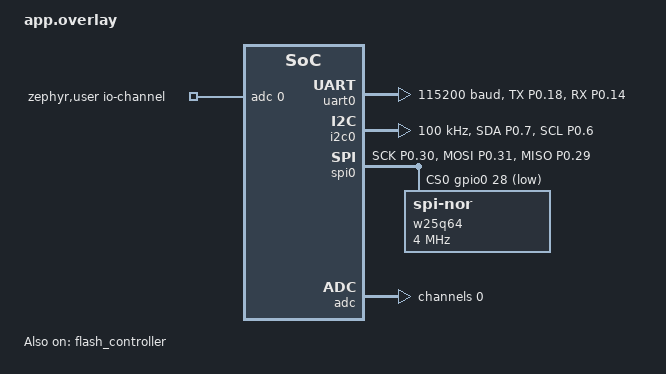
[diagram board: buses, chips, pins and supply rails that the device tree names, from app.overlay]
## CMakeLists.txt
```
# SPDX-License-Identifier: Apache-2.0

cmake_minimum_required(VERSION 3.20.0)

find_package(Zephyr REQUIRED)
project(blinky_3)

# 主源文件
target_sources(app PRIVATE src/main.c)

# 传感器模块
target_sources(app PRIVATE 
    src/sensors/aht30.c
    src/sensors/spl06.c
)

# 存储模块
target_sources(app PRIVATE 
    src/storage/w25q64.c
    src/storage/nvs_config.c
)

# 蓝牙模块
target_sources(app PRIVATE 
    src/ble/ble_adv.c
    src/ble/ble_services.c
    src/ble/ble_ota.c
)

# LED模块
target_sources(app PRIVATE src/led.c)

# 电池电压采样（仅 CONFIG_ADC=y 时产生代码，默认关闭 → 对发布镜像零影响）
target_sources(app PRIVATE src/vdd.c)

# 添加包含目录
target_include_directories(app PRIVATE src)
```

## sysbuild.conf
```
# Formal MCUboot build for nRF52810 + W25Q64.
# The private signing key is intentionally supplied on the west command line.
SB_CONFIG_BOOTLOADER_MCUBOOT=y
SB_CONFIG_MCUBOOT_MODE_OVERWRITE_ONLY=y
SB_CONFIG_PM_EXTERNAL_FLASH_MCUBOOT_SECONDARY=y
SB_CONFIG_BOOT_SIGNATURE_TYPE_ECDSA_P256=y
```

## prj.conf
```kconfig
# 基础功能
CONFIG_GPIO=y

# 控制台：发布态全部关闭，见文件末尾「Release 配置」段。
#
# 【调试态启用方法】把文件末尾 Release 段整体注释掉，改用 RTT + J-Link 抓日志：
#     CONFIG_CONSOLE=y
#     CONFIG_UART_CONSOLE=n
#     CONFIG_USE_SEGGER_RTT=y
#     CONFIG_RTT_CONSOLE=y
#     CONFIG_NCS_BOOT_BANNER=n
#     CONFIG_PRINTK=y
#
# 【重要】CONFIG_NCS_BOOT_BANNER 在 NCS 中默认 y，且会 select PRINTK + select EARLY_CONSOLE，
# 因此“只写 CONFIG_PRINTK=n”是无效的：Kconfig 会给出
#   "PRINTK was assigned the value 'n' but got the value 'y'"
# 警告并继续编译 printk。要真正关掉 printk，必须同时关闭 NCS_BOOT_BANNER。
# 当前 CONFIG_CONSOLE=n 时 printk 本就没有输出后端，这些字符串只是纯 ROM 浪费。
CONFIG_SERIAL=y

# I2C 配置 - AHT30 温湿度传感器
CONFIG_I2C=y
CONFIG_I2C_NRFX=y

# SPI 配置 - W25Q64 Flash存储器（SPI 实例由板级 overlay 通过 devicetree 启用）
CONFIG_SPI=y
CONFIG_SPI_NRFX=y

# UART 驱动（设备树 uart0 仍存在，仅控制台改为 RTT）
CONFIG_UART_ASYNC_API=n
CONFIG_UART_INTERRUPT_DRIVEN=y

# 日志配置：发布态关闭。RTT 仅在调试态启用（写法见文件开头说明）。
# 注意：CONFIG_LOG 在本文件只允许出现一次（Kconfig 取最后一次赋值，重复会让文档与实际不一致）。

# 内存优化
# 注意：CONFIG_MAIN_STACK_SIZE 集中在本文件末尾的「栈与内存」段统一定义，此处不再重复赋值。
CONFIG_IDLE_STACK_SIZE=128
CONFIG_SYSTEM_WORKQUEUE_STACK_SIZE=1280
CONFIG_ISR_STACK_SIZE=1024

# 禁用串口控制台 (大幅节省 RAM)
# CONFIG_SERIAL=n
# CONFIG_CONSOLE=n
# CONFIG_UART_CONSOLE=n

# 蓝牙栈内存优化 (BT_HCI_TX_STACK_SIZE 由 nRF 默认设为 1536，勿覆盖)
#
# 【1024 → 1280，2026-09-13】实测依据（build-ota3，CONFIG_INIT_STACKS）：
#   未跑 OTA：rx_thread_stack 峰值 936/1024，只剩 88 B
#   跑完 OTA：峰值 968/1024，只剩 **56 B** —— 远低于 128 B 安全线
# 为什么 GATT 回调这么吃栈：这些重操作**直接跑在 BT RX 上下文**里：
#   · 写 W25Q64 记录     · 保存续传状态到 NVS     · OTA 开始时整槽擦除
#   · OTA 结束时扫描整个镜像算 SHA-256（mbedtls 上下文 + hash[32] 都在栈上）
# 只加容量是「短期最小修复」：它消除爆栈，但**不解决"阻塞 BT RX"**。
# 【已落地 2026-09-13】擦除 / Flash 写入 / NVS / 整镜像 SHA-256 已全部移出 GATT 回调，
#   改为「回调只校验+拷贝+投递，系统工作队列执行」（ble_ota.c 异步重写）。
#   重写后实测峰值 648/1280（空闲 632 B），重活落在 sys_work_q_stack（968/1280，空闲 312 B）。
#
# 【1280 → 1024，2026-09-13】按 648 B 峰值回收 256 B。
#   **已复测通过（build-ota3，INIT_STACKS），1024 固化为发布配置：**
#   最坏路径全套跑完后读栈（MTU128 全量 / MTU65 回退 / 断连续传 / 错误 SHA /
#   超大与错误密钥拒绝 / 重复 START·CANCEL，全程未复位，故为累积峰值）：
#     rx_thread_stack  峰值 648/1024 → 空闲 **376 B**  ✅（验收线 256 B）
#     sys_work_q 936/1280 空闲 344   z_main 696/1024 空闲 328
#     z_interrupt 600/1024 空闲 424  mpsl 400/640 空闲 240（最紧张，仍 ≥128）
#   **不要降到 768**：按峰值 648 仅余 120 B，不合格（低于 128 B 门槛）。
#   若将来测得 rx 空闲 < 256 B，一律恢复 1280。
#   代价/收益：总 RAM 23,016 → 22,760 B（92.61%），物理余量 1,560 → 1,816 B。
CONFIG_BT_RX_STACK_SIZE=1024

# 时钟配置
CONFIG_CLOCK_CONTROL_NRF_K32SRC_RC=y
CONFIG_CLOCK_CONTROL_NRF_K32SRC_XTAL=n
CONFIG_CLOCK_CONTROL_NRF_K32SRC_500PPM=y

# 蓝牙配置
CONFIG_BT=y
CONFIG_BT_PERIPHERAL=y
CONFIG_BT_DEVICE_NAME="PandaTemp"
CONFIG_BT_DEVICE_NAME_DYNAMIC=y
CONFIG_BT_DEVICE_NAME_MAX=32
CONFIG_BT_MAX_CONN=1
CONFIG_BT_MAX_PAIRED=0
CONFIG_BT_SMP=n
CONFIG_BT_BONDABLE=n
CONFIG_BT_BUF_ACL_RX_SIZE=132
CONFIG_BT_BUF_ACL_TX_SIZE=132
CONFIG_BT_BUF_ACL_TX_COUNT=4
CONFIG_BT_BUF_EVT_RX_COUNT=5
CONFIG_BT_L2CAP_TX_BUF_COUNT=4
CONFIG_BT_L2CAP_TX_MTU=128
CONFIG_BT_BUF_CMD_TX_SIZE=65
CONFIG_BT_GATT_CACHING=n
CONFIG_BT_GAP_AUTO_UPDATE_CONN_PARAMS=n
CONFIG_BT_GATT_ENFORCE_SUBSCRIPTION=n
CONFIG_BT_ATT_PREPARE_COUNT=0

# 电源管理（nRF52 系列 52810/52832 等在 NCS 中均未选 HAS_PM，CONFIG_PM 依赖不满足，勿强制 =y）
# CONFIG_PM=y
# CONFIG_PM_DEVICE=y
#
# 【如何打开】
# 1) 换板子时：若新板子/SoC 在 NCS 中已选 HAS_PM（非 nRF52 或后续 NCS 若开放），在 prj.conf 取消上面两行注释即可。
# 2) 当前板子要打开：先确认依赖——CONFIG_PM 依赖 SYS_CLOCK_EXISTS 与 HAS_PM（SoC 提供低功耗钩子）。
#    - 在 build 目录执行：ninja menuconfig → Subsystems and OS → Power Management，查看依赖是否满足。
#    - 若 HAS_PM 未选：在板级 conf（如 boards/<板名>.conf）或 SoC 层添加 select HAS_PM（需改 NCS 板级/SoC 树）。
# 3) 仅要系统级低功耗（k_sleep 进低功耗）：只启用 CONFIG_PM=y；CONFIG_PM_DEVICE 可选。
# 4) 启用 CONFIG_PM_DEVICE 时：app.overlay 中已对 i2c0/adc/flash 删除 zephyr,pm-device-runtime-auto，可避免链接错误。

# DCDC 转换器（降低射频功耗约40%）
# 注意：nrf52dk_nrf52810.dts 已默认启用 DCDC (regulator-initial-mode = NRF5X_REG_MODE_DCDC)

# Flash 配置
CONFIG_FLASH=y
CONFIG_FLASH_PAGE_LAYOUT=y
CONFIG_FLASH_MAP=y
CONFIG_SOC_FLASH_NRF=y
CONFIG_SPI_NOR=y
CONFIG_FLASH_JESD216_API=y
# 外置 SPI NOR 的“布局页/擦除块”粒度必须等于 W25Q64 的实际擦除块 = 4 KiB。
# Zephyr 默认 65536，会与 NVS 的 sector_size=4096 直接冲突：
#   nvs_mount() -> flash_get_page_info_by_offs() 得到 info.size=65536
#   校验 `fs->sector_size % info.size` = 4096 % 65536 = 4096 != 0 -> 返回 -EINVAL
# 后果：nvs_config_init() 失败、nvs_ready 恒为 0，时间基准/采样间隔/设备配置全部无法持久化。
# 实测证据（2026-09-11）：修前 nvs_ready=0x00，W25Q64 的 nvs_storage(0x28000) 首 64B 全 0xFF。
# 该布局在 ROM 中仅是 {pages_count, pages_size} 两个整数，不占 RAM。
CONFIG_SPI_NOR_FLASH_LAYOUT_PAGE_SIZE=4096

# NVS 配置（配置 + W25Q64 位置存芯片 FLASH，定时 flush）
CONFIG_NVS=y
# CONFIG_SETTINGS=y
# 注意：CONFIG_NVS_LOG_LEVEL 由 Zephyr 日志子系统间接提供，不可在 prj.conf 中直接设置；
# 且当前 CONFIG_LOG=n，NVS 日志已随全局日志关闭。
# NVS 写内部 Flash 时需允许 MPU 写，否则可能 MPU FAULT
CONFIG_MPU_ALLOW_FLASH_WRITE=y

# ===== Release 配置：关闭全部控制台/日志输出（省 ROM/RAM）=====
#
# 维护须知：Kconfig 对同一符号取“最后一次赋值”，在同一文件里重复赋值只会产生警告，
# 并让文档与实际 .config 不一致（本项目历史上就发生过：文档写 PRINTK=n，实际 CONFIG_PRINTK=y）。
# 因此每个符号在 prj.conf 中只出现一次，调试开关统一走文件开头的说明。
CONFIG_LOG=n
CONFIG_PRINTK=n
CONFIG_CONSOLE=n
# PRINTK 被强制为 y 的真正原因：NCS_BOOT_BANNER 默认 y 且 select PRINTK + EARLY_CONSOLE
CONFIG_NCS_BOOT_BANNER=n
CONFIG_EARLY_CONSOLE=n

CONFIG_USE_SEGGER_RTT=n
CONFIG_RTT_CONSOLE=n
CONFIG_LOG_BACKEND_RTT=n

CONFIG_BOOT_BANNER=n

# 512 → 640（2026-09-13）：实测峰值 400/512，余 112 B，是全项目余量最小的栈。
# MPSL 是协议栈的低优先级工作上下文，余量必须留够，不能拿它去换别的 RAM。
CONFIG_MPSL_WORK_STACK_SIZE=640

# ===== 栈与内存：CONFIG_MAIN_STACK_SIZE 全工程唯一赋值点 =====
# 实测（tools/stack_hwm.py，2026-09-11）：
#   768 B 时 z_main_stack 峰值 680 B，仅余 88 B（88.5%）——全项目最紧张的一个栈。
#   v3（采样/历史周期解耦）在采样路径上又增加了聚合与事件判定逻辑，故上调到 1024 B，
#   把余量拉回安全区；RAM 代价 +256 B。
CONFIG_MAIN_STACK_SIZE=1024

# ==========================================================================
# OTA（自定义极简 BLE OTA：Control / Data / Status）
# ==========================================================================
# 镜像写入：flash_img + stream_flash。缓冲就是 CONFIG_IMG_BLOCK_BUF_SIZE，
# 没有隐藏的大结构（struct flash_img_context = buf[N] + flash_area* + stream_flash_ctx≈48B）。
# 取 256 = W25Q64 的页大小，正好一次页编程写满，不浪费。
# 注意：IMG_MANAGER **depends on** STREAM_FLASH（是 depends 不是 select），
# 不显式打开的话 Kconfig 会静默丢弃 IMG_MANAGER，表现为
# "CONFIG_IMG_BLOCK_BUF_SIZE undeclared" 这种看起来毫不相干的编译错误。
CONFIG_STREAM_FLASH=y
CONFIG_IMG_MANAGER=y
CONFIG_IMG_BLOCK_BUF_SIZE=256

# App 侧 SHA-256 校验（flash_img_check）。会拉进 SHA-256 实现，
# 若体积超标可关掉——完整性最终由 MCUboot 的 ECDSA-P256 验签兜底。
CONFIG_IMG_ENABLE_IMAGE_CHECK=y

# sys_reboot() 需要显式打开，否则链接期才报 "undefined reference to sys_reboot"
CONFIG_REBOOT=y

# ATT MTU：请求 128，协商失败自动回退到默认（不是升级前提）。
# 代价是 ACL 缓冲从 69 加到 132（MTU+4），RAM 约 +0.4 KB。
# CONFIG_BT_L2CAP_TX_MTU / *_BUF_ACL_*_SIZE 在上面的蓝牙段统一定义，此处不再重复。

# ==========================================================================
# 电池电压（SAADC 内部 VDD 通道，零外部电路 —— 见 app.overlay 的 &adc）
# ==========================================================================
# 板子**没有**电压采样/分压电路；nRF52810 的 SAADC 能直接测 VDD，前提是
# VCC 直接由电池供电（无 LDO），否则读到的是稳压值而不是电池电压。
#
# 实测成本（隔离探针 build-vddprobe，对比 build-ota3）：
#   ROM +4,432 B（签名镜像 145,590 → 150,023，距红线仍有 7,673 B）
#   RAM +192 B （22,760 → 22,952，物理余量 1,816 → 1,624 B）
# 其中我们自己的代码只有 120 B（vdd_sample_mv），其余全是 Zephyr ADC 子系统
# + nrfx SAADC 驱动（adc_nrfx_read/SAADC_IRQHandler/nrfx_saadc_* 等）。
# 注意：**必须真有 adc_read() 调用点**才量得准 —— 只开 CONFIG_ADC 而不调用，
# --gc-sections 会把整个驱动回收，量出来是 ~0（与 IMG_MANAGER 探针同一个坑）。
#
# 功耗：驱动在每次转换 DONE 后 nrfy_saadc_disable()，空闲不耗电；
# 默认每 60 秒采一次（见 src/vdd.h 的 VDD_SAMPLE_PERIOD_S，钳位 60~300）。
CONFIG_ADC=y
```

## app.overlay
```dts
/* NRF_SAADC_VDD 等 SAADC 输入宏（电池电压采样用） */
#include <zephyr/dt-bindings/adc/nrf-saadc.h>

/ {
	aliases {
		/* W25Q64 使用此 SPI；52832 overlay 会覆盖为 &spi1 */
		w25q64-spi = &spi0;
	};
	chosen {
		zephyr,console = &uart0;
		zephyr,shell-uart = &uart0;
		nordic,pm-ext-flash = &w25q64;
	};
	zephyr,user {
		/* 通道 0 = 电池电压（见文件末尾 &adc） */
		io-channels = <&adc 0>;
	};
};

&uart0 {
	status = "okay";
	current-speed = <115200>;
	pinctrl-0 = <&uart0_default_custom>;
	pinctrl-1 = <&uart0_sleep_custom>;
	pinctrl-names = "default", "sleep";
};

&pinctrl {
	uart0_default_custom: uart0_default_custom {
		group1 {
			psels = <NRF_PSEL(UART_TX, 0, 18)>,
			        <NRF_PSEL(UART_RX, 0, 14)>;
		};
	};

	uart0_sleep_custom: uart0_sleep_custom {
		group1 {
			psels = <NRF_PSEL(UART_TX, 0, 18)>,
			        <NRF_PSEL(UART_RX, 0, 14)>;
			low-power-enable;
		};
	};

	i2c0_default_custom: i2c0_default_custom {
		group1 {
			psels = <NRF_PSEL(TWIM_SDA, 0, 7)>,
			        <NRF_PSEL(TWIM_SCL, 0, 6)>;
			bias-pull-up;
		};
	};

	i2c0_sleep_custom: i2c0_sleep_custom {
		group1 {
			psels = <NRF_PSEL(TWIM_SDA, 0, 7)>,
			        <NRF_PSEL(TWIM_SCL, 0, 6)>;
			low-power-enable;
			bias-pull-up;
		};
	};

	/*
	 * W25Q64 SPI0 pinctrl: SCK=P0.30, MOSI=P0.31, MISO=P0.29.
	 *
	 * These states MUST live in this file.  Zephyr's
	 * configuration_files.cmake stops looking for `app.overlay` as soon as
	 * it finds a matching `boards/<board>_<soc>.overlay`, so SPI0 used to
	 * silently fall back to the nRF52 DK defaults (SCK=P0.29, MISO=P0.30,
	 * no cs-gpios) whenever the pin config was moved into boards/.
	 */
	spi0_default_custom: spi0_default_custom {
		group1 {
			psels = <NRF_PSEL(SPIM_SCK, 0, 30)>,
			        <NRF_PSEL(SPIM_MOSI, 0, 31)>,
			        <NRF_PSEL(SPIM_MISO, 0, 29)>;
			bias-pull-down;
		};
	};

	spi0_sleep_custom: spi0_sleep_custom {
		group1 {
			psels = <NRF_PSEL(SPIM_SCK, 0, 30)>,
			        <NRF_PSEL(SPIM_MOSI, 0, 31)>,
			        <NRF_PSEL(SPIM_MISO, 0, 29)>;
			low-power-enable;
			bias-pull-down;
		};
	};
};

&uicr {
	/delete-property/ gpio-as-nreset;
};

&i2c0 {
	status = "okay";
	compatible = "nordic,nrf-twim";
	pinctrl-0 = <&i2c0_default_custom>;
	pinctrl-1 = <&i2c0_sleep_custom>;
	pinctrl-names = "default", "sleep";
	clock-frequency = <I2C_BITRATE_STANDARD>;
	/delete-property/ zephyr,pm-device-runtime-auto;
};

/* SPI0 - W25Q64 Flash（nRF52810 只有一组 SPI，与 I2C 不冲突）
 * 注意：引脚与 CS 必须写在本文件内，原因见上方 spi0_default_custom 的注释。
 * nRF52832 变体走 boards/nrf52832dk_nrf52832_cpuapp.overlay 的 spi1，spi0 保持 disabled。
 */

&spi0 {
	status = "okay";
	compatible = "nordic,nrf-spim";
	pinctrl-0 = <&spi0_default_custom>;
	pinctrl-1 = <&spi0_sleep_custom>;
	pinctrl-names = "default", "sleep";
	cs-gpios = <&gpio0 28 GPIO_ACTIVE_LOW>;
	/delete-property/ zephyr,pm-device-runtime-auto;

	w25q64: w25q64@0 {
		compatible = "jedec,spi-nor";
		status = "okay";
		reg = <0>;
		spi-max-frequency = <4000000>;
		size = <0x4000000>;
		jedec-id = [ef 40 17];
		/* A soft reset does not wake a W25Q64 left in deep power-down.
		 * Keep this in sync with sysbuild/mcuboot.overlay.
		 */
		has-dpd;
		t-exit-dpd = <3000>;
	};
};

/*
 * 电池电压采样：SAADC 内部 VDD 通道，**不需要任何外部电路**。
 *
 * 板子没有电压分压/采样电路，但 nRF52810 的 SAADC 能直接测 VDD：
 *   内部基准 0.6 V + 增益 1/6 → 量程 3.6 V（覆盖模块工作电压 1.7~3.6 V）
 *   换算：mV = raw * 3600 / 4096（12 bit，见 src/vdd.c）
 * 前提：VCC 直接由电池供电（无 LDO/稳压），否则测到的是稳压值而非电池电压。
 *
 * 驱动在每次转换完成后会 nrfy_saadc_disable()，空闲不耗电。
 */
&adc {
	status = "okay";
	/delete-property/ zephyr,pm-device-runtime-auto;
	#address-cells = <1>;
	#size-cells = <0>;

	channel@0 {
		reg = <0>;
		zephyr,gain = "ADC_GAIN_1_6";
		zephyr,reference = "ADC_REF_INTERNAL";
		zephyr,acquisition-time = <ADC_ACQ_TIME_DEFAULT>;
		zephyr,input-positive = <NRF_SAADC_VDD>;
		zephyr,resolution = <12>;
	};
};

&flash_controller {
	status = "okay";
};

&flash0 {
	status = "okay";
	/delete-property/ zephyr,pm-device-runtime-auto;

	/* MCUboot + PM 布局：内部只保留 primary app，不再放 NVS */
	/delete-node/ partitions;

	partitions {
		compatible = "fixed-partitions";
		#address-cells = <1>;
		#size-cells = <1>;

		/* Primary app (0x8200 - 0x30000) */
		slot0_partition: partition@8200 {
			label = "image-0";
			reg = <0x00008200 0x00027E00>;
		};
	};
};
```

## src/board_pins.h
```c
/**
 * @file board_pins.h
 * @brief E104-BT5010A 开发板引脚配置中心
 * 
 * 本文件集中定义所有 GPIO 引脚，便于硬件移植和维护
 * 
 * 硬件版本: E104-BT5010A (nRF52810)
 * 参考: RIOT-2020.10-RC3 boards/e104-bt5010a-tb
 */

#ifndef BOARD_PINS_H_
#define BOARD_PINS_H_

#ifdef __cplusplus
extern "C" {
#endif

/* ========== LED 指示灯引脚 ========== */
/* LED 为低电平有效（低电平点亮，高电平熄灭）*/
#define PIN_LED_DATA       4   /* P0.4 - 数据指示灯 */
#define PIN_LED_LINK       5    /* P0.5 - 蓝牙连接指示灯 */

/* ========== I2C0 传感器总线引脚 ========== */
/* 连接设备: AHT30/SHT40 温湿度传感器, SPL06 气压传感器, LTR-390UV 紫外线传感器 */
/* 配置在 overlay 文件中，此处仅作文档记录 */
#define PIN_I2C0_SCL       6   /* P0.6 - I2C 时钟线 */
#define PIN_I2C0_SDA       7   /* P0.7 - I2C 数据线 */

/* ========== UART0 调试串口引脚 ========== */
/* 配置在 overlay 文件中，此处仅作文档记录 */
#define PIN_UART0_TX       18  /* P0.18 - 串口发送 */
#define PIN_UART0_RX       14  /* P0.14 - 串口接收 */

/* ========== SPI0 Flash 存储引脚 ========== */
/* W25Q64 8MB SPI Flash，用于历史数据存储 */
/* SCK/MOSI/MISO 配置在 overlay 文件中，CS 由驱动控制 */
#define PIN_SPI0_CS        28  /* P0.28 - W25Q64 片选，低电平有效 */
#define PIN_SPI0_MISO      29  /* P0.29 - SPI 数据输出 */
#define PIN_SPI0_SCK       30  /* P0.30 - SPI 时钟 */
#define PIN_SPI0_MOSI      31  /* P0.31 - SPI 数据输入 */

/* ========== 引脚功能汇总表 ========== */
/*
 * GPIO  | 功能          | 方向 | 说明
 * ------|---------------|------|----------------------------------
 * P0.4  | DATA LED      | 输出 | 数据指示灯，低电平点亮
 * P0.5  | LINK LED      | 输出 | 蓝牙连接指示灯，低电平点亮
 * P0.6  | I2C0 SCL      | 双向 | I2C 时钟线（AHT30/SHT40/SPL06/LTR390）
 * P0.7  | I2C0 SDA      | 双向 | I2C 数据线（AHT30/SHT40/SPL06/LTR390）
 * P0.14 | UART0 RX      | 输入 | 串口接收（调试用）
 * P0.18 | UART0 TX      | 输出 | 串口发送（调试用）
 * P0.28 | W25Q64 CS     | 输出 | SPI Flash 片选，低电平有效
 * P0.29 | W25Q64 MISO   | 输入 | SPI Flash 数据输出
 * P0.30 | W25Q64 SCK    | 输出 | SPI Flash 时钟
 * P0.31 | W25Q64 MOSI   | 输出 | SPI Flash 数据输入
 */

/* ========== 硬件版本标识 ========== */
#define BOARD_NAME         "E104-BT5010A"
#define BOARD_VERSION      "1.1.3"
#define MCU_MODEL          "nRF52810"

#ifdef __cplusplus
}
#endif

#endif /* BOARD_PINS_H_ */
```

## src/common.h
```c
/**
 * @file common.h
 * @brief 公共数据类型定义
 */

#ifndef COMMON_H_
#define COMMON_H_

#include <zephyr/kernel.h>
#include <stdbool.h>
#include <stdint.h>

#ifdef __cplusplus
extern "C" {
#endif

/* RAM 缓冲区大小 */
#define RAM_BUFFER_SIZE 5

/**
 * @brief 数据记录结构
 */
struct data_record {
	uint32_t timestamp;          /* Unix时间戳（秒）*/
	int16_t temperature;         /* 温度（0.01°C）*/
	uint16_t humidity;           /* 湿度（0.01%RH）*/
	uint32_t pressure_pa;          /* 气压（Pa）*/
} __packed;

/**
 * @brief 历史数据传输上下文（结构体封装优化）
 * 
 * 优化前：约8个分散的静态全局变量
 * 优化后：统一封装到一个结构体中
 */
typedef struct {
	uint16_t sector;              /* 当前传输扇区 */
	uint16_t record_idx;          /* 当前扇区内的记录索引 */
	uint32_t start_timestamp;     /* 起始时间戳（0表示发送全部数据）*/
	bool active;                  /* 传输是否进行中 */
	bool binary_search_done;      /* 二分查找是否已完成 */
	uint32_t total_sent_packets;  /* 累计发送包数 */
	uint32_t total_sent_records;  /* 累计发送记录数 */
	uint32_t last_sent_timestamp; /* 上一条发送记录的时间戳 */
	bool sending;                 /* 是否有在途的历史通知 */
	uint8_t tx_buf[60];           /* 历史数据发送缓冲区 */
} history_transfer_ctx_t;

/**
 * @brief 时间同步上下文
 */
typedef struct {
	uint32_t base_timestamp;      /* 基准时间戳（Unix 时间戳，秒）*/
	int64_t base_uptime;          /* 基准时间对应的系统运行时间（毫秒）*/
	bool synced;                  /* 时间是否已同步 */
} time_sync_ctx_t;

/**
 * @brief 清空数据上下文
 */
typedef struct {
	bool in_progress;             /* 清空数据进行中标志 */
	uint16_t progress;            /* 当前进度（扇区号）*/
	uint16_t erased_count;        /* 成功擦除扇区数 */
	uint16_t failed_count;        /* 失败扇区数 */
} clear_data_ctx_t;

/**
 * @brief 蓝牙状态上下文
 */
typedef struct {
	bool connected;               /* 是否已连接 */
	bool ready;                   /* 蓝牙是否就绪 */
} bt_state_ctx_t;

#ifdef __cplusplus
}
#endif

#endif /* COMMON_H_ */
```

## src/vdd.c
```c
/**
 * @file vdd.c
 * @brief 电池电压采样实现（仅 CONFIG_ADC=y 时产生代码）
 *
 * 换算为何不依赖 adc_raw_to_millivolts_dt()：
 *   该函数对 gain 的处理在不同 Zephyr 版本间语义有差异，容易把 1/6 增益算错一倍。
 *   这里按数据手册直接算，链路完全透明：
 *     VDD --[增益 1/6]--> SAADC --[内部基准 0.6 V, 12 bit]--> raw
 *     raw = (VDD / 6) / 0.6 * 4096   =>   VDD_mV = raw * 3600 / 4096   （量程 3.6 V）
 *
 * 实测校验：调试器供 3.3 V 时读数 3325 mV（raw 3784），与标称一致，
 * 说明基准/增益比例正确（若比例错 6 倍会读到 ~20 V 或 ~0.55 V）。
 *
 * 功耗：Zephyr 的 nrfx SAADC 驱动在每次转换 DONE 后调用 nrfy_saadc_disable()，
 *   即**空闲时外设关闭**、不产生静态电流，只有采样那几毫秒耗电 —— 对 CR2032 友好。
 *   因此不需要额外的电源管理代码。
 */

#include <zephyr/kernel.h>
#include <zephyr/device.h>
#include <zephyr/drivers/adc.h>

#include "vdd.h"

#ifdef CONFIG_ADC

/* ---- 编译期钳位：周期必须落在 60~300 秒 ---- */
#if VDD_SAMPLE_PERIOD_S < 60
#undef VDD_SAMPLE_PERIOD_S
#define VDD_SAMPLE_PERIOD_S 60
#elif VDD_SAMPLE_PERIOD_S > 300
#undef VDD_SAMPLE_PERIOD_S
#define VDD_SAMPLE_PERIOD_S 300
#endif

#define VDD_GAIN_NUMERATOR   3600   /* 0.6 V 基准 × 6（1/6 增益）= 3.6 V 满量程 */
#define VDD_RAW_MAX          4096   /* 12 bit */
#define VDD_MV_CEILING       0xFFFEU /* 上限；**不得**等于 VDD_INVALID_MV 以免语义混淆 */
#define VDD_FAIL_LIMIT       3U     /* 连续失败这么多次才判定"无数据" */

static const struct adc_dt_spec vdd_spec =
	ADC_DT_SPEC_GET_BY_IDX(DT_PATH(zephyr_user), 0);

static int16_t  vdd_raw_buf;         /* EasyDMA 采样缓冲，必须在 RAM */
static bool     vdd_channel_ready;
static uint8_t  vdd_fail_count;

uint16_t g_vdd_mv     = VDD_INVALID_MV;
uint16_t g_vdd_min_mv = VDD_INVALID_MV;
uint16_t g_vdd_max_mv;

int vdd_sample_mv(uint16_t *mv)
{
	struct adc_sequence seq = {
		.buffer      = &vdd_raw_buf,
		.buffer_size = sizeof(vdd_raw_buf),
	};
	int rc;
	int32_t raw;
	uint32_t mv32;

	if (!device_is_ready(vdd_spec.dev)) {
		return -ENODEV;
	}

	/* 通道只配置一次：SAADC 是独占外设，本项目没有别的使用者。
	 * 读取失败时清标志，下次重新下发配置，避免一次失败后永久失效。 */
	if (!vdd_channel_ready) {
		rc = adc_channel_setup_dt(&vdd_spec);
		if (rc != 0) {
			return rc;
		}
		vdd_channel_ready = true;
	}

	rc = adc_sequence_init_dt(&vdd_spec, &seq);
	if (rc != 0) {
		return rc;
	}

	rc = adc_read(vdd_spec.dev, &seq);
	if (rc != 0) {
		vdd_channel_ready = false;
		return rc;
	}

	raw = (int32_t)vdd_raw_buf;
	if (raw < 0) {
		raw = 0;
	}

	/* 用 32 位中间量，避免 16 位溢出（raw 最大 4095 → 3599 mV） */
	mv32 = (uint32_t)raw * VDD_GAIN_NUMERATOR / VDD_RAW_MAX;
	if (mv32 > VDD_MV_CEILING) {
		mv32 = VDD_MV_CEILING;
	}

	if (mv != NULL) {
		*mv = (uint16_t)mv32;
	}
	return 0;
}

void vdd_refresh(void)
{
	uint16_t mv = 0U;

	if (vdd_sample_mv(&mv) == 0) {
		vdd_fail_count = 0U;
		g_vdd_mv = mv;

		if (g_vdd_min_mv == VDD_INVALID_MV || mv < g_vdd_min_mv) {
			g_vdd_min_mv = mv;
		}
		if (mv > g_vdd_max_mv) {
			g_vdd_max_mv = mv;
		}
		return;
	}

	/* 单次失败不立刻置无效：那会让界面闪成 `--`。
	 * 连续失败到阈值才判定"确实没有数据"，此时 App 显示 `--` 是正确语义。 */
	if (vdd_fail_count < 0xFFU) {
		vdd_fail_count++;
	}
	if (vdd_fail_count >= VDD_FAIL_LIMIT) {
		g_vdd_mv = VDD_INVALID_MV;
	}
}

void vdd_periodic_tick(void)
{
	static uint16_t ticks;

	if (++ticks < VDD_SAMPLE_PERIOD_S) {
		return;
	}
	ticks = 0U;
	vdd_refresh();
}

uint16_t vdd_cached_mv(void)
{
	return g_vdd_mv;
}

#endif /* CONFIG_ADC */
```

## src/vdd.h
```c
/**
 * @file vdd.h
 * @brief 电池电压采样（SAADC 内部 VDD 通道，无需任何外部电路）
 *
 * 硬件事实：本板**没有**电压采样/分压电路。nRF52810 的 SAADC 可直接测 VDD，
 * 因此零硬件即可拿到电池电压 —— 前提是 VCC 直接由电池供电（中间无 LDO/稳压）。
 *
 * 线程/上下文约定（**重要**）：
 *   - 采样只允许在 `vdd_periodic_tick()` → 系统工作队列（1 Hz 采集路径）里做；
 *   - BLE 侧**只能**调 `vdd_cached_mv()` 读缓存，
 *     **禁止**在 GATT 回调里调用 `adc_read()`（会把 ADC 与校准时间塞进 BT RX 上下文）。
 *
 * 编译开关：CONFIG_ADC（见 prj.conf）。关闭时本模块为空，对镜像零影响。
 */

#ifndef VDD_H_
#define VDD_H_

#include <stdint.h>

#ifdef __cplusplus
extern "C" {
#endif

/**
 * 电压无效哨兵值 = 0xFFFF（65535 mV）。
 *
 * App **必须**把它显示为 `--`，绝不能显示成 65.535 V。
 * 选 0xFFFF 而不是 0：0 mV 是个"看起来合法"的值，会被渲染成 0.000 V，
 * 等于把"没有数据"伪装成"电池耗尽的读数"。
 */
#define VDD_INVALID_MV        0xFFFFU

/** 采样周期（秒）。有效范围 60~300，默认 60（见 vdd.c 的编译期钳位）。 */
#define VDD_SAMPLE_PERIOD_S   60

#ifdef CONFIG_ADC

/** 缓存值：BLE 只读它。未采过样或连续失败时等于 VDD_INVALID_MV。 */
extern uint16_t g_vdd_mv;

/** 诊断用：观察到的电压区间。可反映电池内阻在 BLE 发射突发下的跌落。 */
extern uint16_t g_vdd_min_mv;
extern uint16_t g_vdd_max_mv;

/**
 * @brief 立即采一次并更新缓存/区间。
 * @param mv 非空时回填本次读数；可为 NULL。
 * @return 0 成功；负值为 errno。
 */
int vdd_sample_mv(uint16_t *mv);

/** @brief 更新缓存 + 区间统计（采样失败时按连续失败计数决定是否置无效）。 */
void vdd_refresh(void);

/** @brief 由 1 Hz 采集路径每拍调用一次；内部按 VDD_SAMPLE_PERIOD_S 节流。 */
void vdd_periodic_tick(void);

/** @brief 读缓存（绝不触发 ADC）。BLE 回调只允许用这个。 */
uint16_t vdd_cached_mv(void);

#endif /* CONFIG_ADC */

#ifdef __cplusplus
}
#endif

#endif /* VDD_H_ */
```
